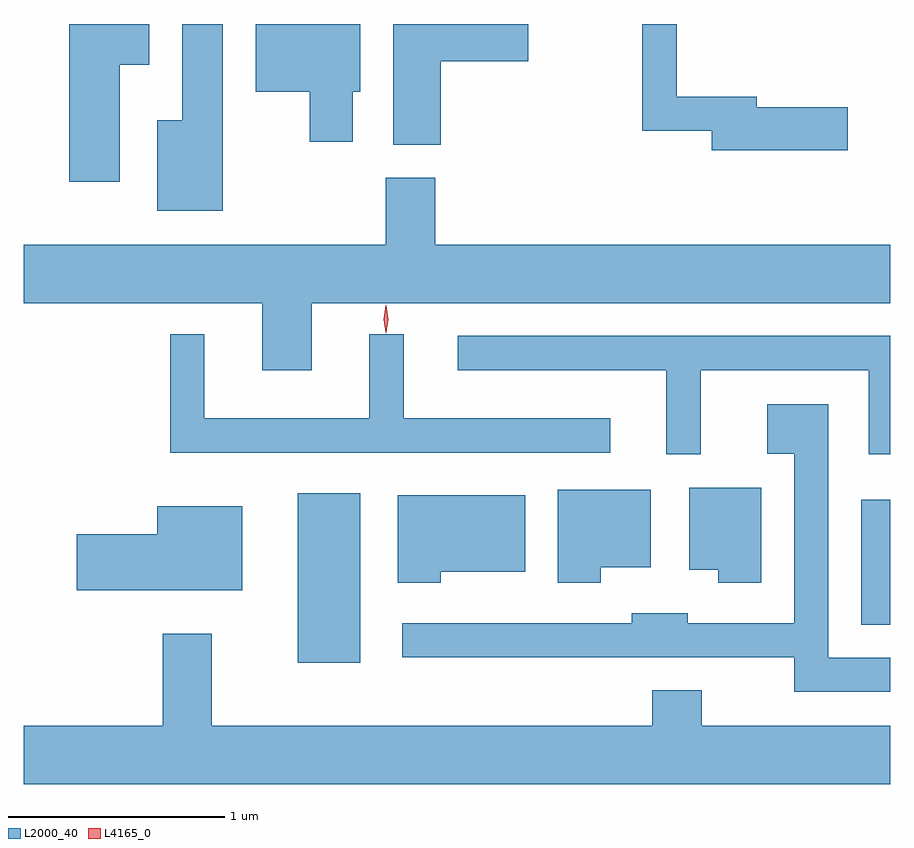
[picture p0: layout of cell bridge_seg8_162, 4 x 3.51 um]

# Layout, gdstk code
import gdstk
lib = gdstk.Library(unit=1e-6, precision=1e-09)
def R(c, l, rs):  # rectangles x0, y0, x1, y1
    for r in rs: c.add(gdstk.rectangle(r[:2], r[2:], *l))
def P(c, l, *ps):  # polygons
    for p in ps: c.add(gdstk.Polygon(p, *l))
L2000_40 = (2000, 40)
L4165_0 = (4165, 0)

bridge_seg8_162 = lib.new_cell('bridge_seg8_162')
R(bridge_seg8_162, L2000_40, [(1440.276,1916.896,1440.564,1917.679), (1442.876,1917.071,1443.01,1917.649)])
P(bridge_seg8_162, L2000_40, [(1440.934,1919.671),(1441.339,1919.671),(1441.339,1919.844),(1440.716,1919.844),(1440.716,1919.286),(1440.934,1919.286)],
  [(1440.529,1919.531),(1440.564,1919.531),(1440.564,1919.844),(1440.081,1919.844),(1440.081,1919.531),(1440.331,1919.531),(1440.331,1919.301),(1440.529,1919.301)],
  [(1442.814,1919.459),(1442.394,1919.459),(1442.394,1919.509),(1442.024,1919.509),(1442.024,1919.844),(1441.866,1919.844),(1441.866,1919.351),(1442.186,1919.351),(1442.186,1919.261),(1442.814,1919.261)],
  [(1439.454,1919.656),(1439.589,1919.656),(1439.589,1919.844),(1439.221,1919.844),(1439.221,1919.116),(1439.454,1919.116)],
  [(1439.929,1919.844),(1439.741,1919.844),(1439.741,1919.399),(1439.626,1919.399),(1439.626,1918.981),(1439.929,1918.981)],
  [(1439.01,1918.556),(1440.111,1918.556),(1440.111,1918.246),(1440.339,1918.246),(1440.339,1918.556),(1443.01,1918.556),(1443.01,1918.824),(1440.909,1918.824),(1440.909,1919.134),(1440.681,1919.134),(1440.681,1918.824),(1439.01,1918.824)],
  [(1441.718,1918.024),(1440.764,1918.024),(1440.764,1918.413),(1440.606,1918.413),(1440.606,1918.024),(1439.844,1918.024),(1439.844,1918.413),(1439.686,1918.413),(1439.686,1917.866),(1441.718,1917.866)],
  [(1442.134,1918.246),(1442.911,1918.246),(1442.911,1917.858),(1443.01,1917.858),(1443.01,1918.404),(1441.013,1918.404),(1441.013,1918.246),(1441.976,1918.246),(1441.976,1917.858),(1442.134,1917.858)],
  [(1443.01,1916.919),(1442.724,1916.919),(1442.724,1918.089),(1442.441,1918.089),(1442.441,1917.861),(1442.566,1917.861),(1442.566,1917.079),(1442.074,1917.079),(1442.074,1917.124),(1441.816,1917.124),(1441.816,1917.079),(1440.758,1917.079),(1440.758,1916.921),(1442.566,1916.921),(1442.566,1916.761),(1443.01,1916.761)],
  [(1442.414,1917.704),(1442.081,1917.704),(1442.081,1917.326),(1442.216,1917.326),(1442.216,1917.266),(1442.414,1917.266)],
  [(1441.674,1917.336),(1441.904,1917.336),(1441.904,1917.694),(1441.476,1917.694),(1441.476,1917.266),(1441.674,1917.266)],
  [(1440.934,1917.316),(1441.324,1917.316),(1441.324,1917.669),(1440.736,1917.669),(1440.736,1917.266),(1440.934,1917.266)],
  [(1440.019,1917.619),(1439.626,1917.619),(1439.626,1917.489),(1439.256,1917.489),(1439.256,1917.231),(1440.019,1917.231)],
  [(1443.01,1916.604),(1442.139,1916.604),(1442.139,1916.769),(1441.911,1916.769),(1441.911,1916.604),(1439.879,1916.604),(1439.879,1917.029),(1439.651,1917.029),(1439.651,1916.604),(1439.01,1916.604),(1439.01,1916.336),(1443.01,1916.336)])
P(bridge_seg8_162, L4165_0, [(1440.682,1918.418),(1440.673,1918.482),(1440.682,1918.545),(1440.683,1918.546),(1440.684,1918.545),(1440.693,1918.482),(1440.684,1918.418),(1440.683,1918.418)])

lib.write_gds('bridge_seg8_162.gds')
